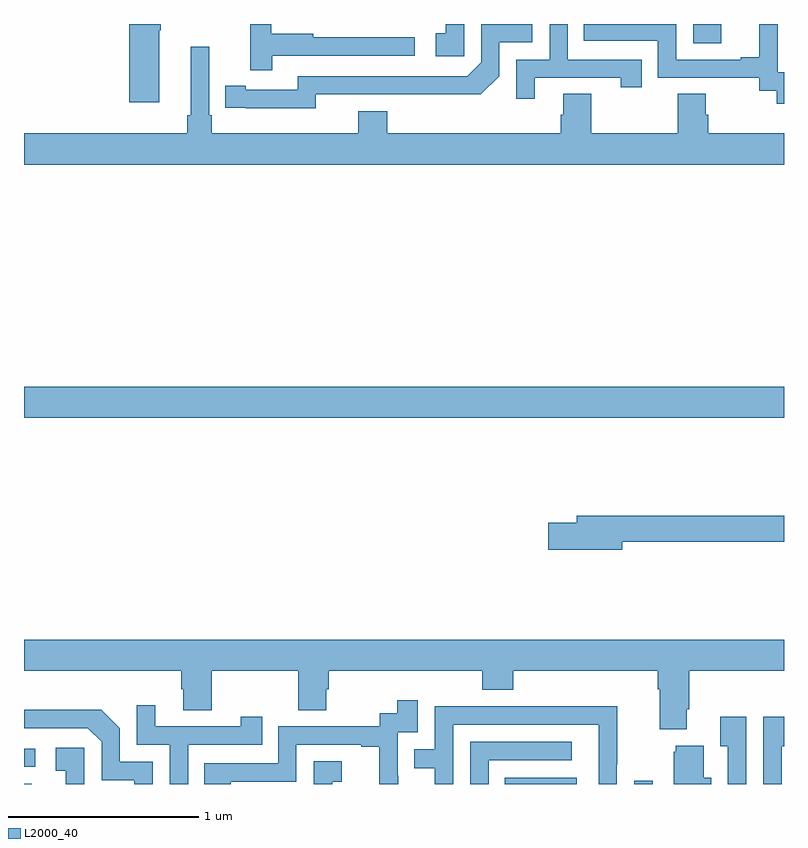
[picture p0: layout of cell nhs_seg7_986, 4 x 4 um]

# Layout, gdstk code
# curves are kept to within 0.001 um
import gdstk
lib = gdstk.Library(unit=1e-6, precision=1e-09)
def R(c, l, rs):  # rectangles x0, y0, x1, y1
    for r in rs: c.add(gdstk.rectangle(r[:2], r[2:], *l))
def P(c, l, *ps):  # polygons
    for p in ps: c.add(gdstk.Polygon(p, *l))
L2000_40 = (2000, 40)

nhs_seg7_986 = lib.new_cell('nhs_seg7_986')
R(nhs_seg7_986, L2000_40, [(183,1020,183.04,1020.001), (185.53,1020,185.908,1020.034), (186.213,1020,186.309,1020.016), (183,1020.09,183.058,1020.186), (183,1021.928,187,1022.092), (186.522,1023.9,186.67,1024)])
P(nhs_seg7_986, L2000_40, [(185.689,1023.717),(186.14,1023.717),(186.14,1023.666),(186.251,1023.666),(186.251,1023.813),(185.862,1023.813),(185.862,1024),(185.766,1024),(185.766,1023.813),(185.592,1023.813),(185.592,1023.606),(185.689,1023.606)],
  [(184.536,1023.63),(185.404,1023.629),(185.502,1023.726),(185.502,1023.903),(185.676,1023.903),(185.676,1024),(185.406,1023.999),(185.406,1023.798),(185.334,1023.726),(184.44,1023.726),(184.44,1023.654),(184.168,1023.654),(184.168,1023.674),(184.06,1023.674),(184.06,1023.558),(184.536,1023.557)],
  [(185.316,1024),(185.219,1024),(185.219,1023.951),(185.166,1023.951),(185.166,1023.831),(185.316,1023.831)],
  [(184.307,1023.834),(185.056,1023.834),(185.056,1023.93),(184.523,1023.93),(184.523,1023.95),(184.3,1023.95),(184.3,1024),(184.19,1024),(184.19,1023.756),(184.307,1023.756)],
  [(183.712,1023.967),(183.72,1023.967),(183.72,1024),(183.554,1024),(183.554,1023.588),(183.712,1023.588)],
  [(187,1023.747),(186.966,1023.747),(186.966,1023.977),(186.968,1023.977),(186.968,1024),(186.869,1024),(186.869,1023.826),(186.773,1023.826),(186.773,1023.813),(186.432,1023.813),(186.432,1024),(185.947,1024),(185.947,1023.912),(186.336,1023.912),(186.336,1023.717),(186.87,1023.717),(186.87,1023.649),(186.963,1023.649),(186.963,1023.579),(187,1023.579)],
  [(187,1023.424),(186.602,1023.424),(186.602,1023.522),(186.589,1023.522),(186.589,1023.632),(186.442,1023.632),(186.442,1023.424),(185.985,1023.424),(185.985,1023.632),(185.837,1023.632),(185.837,1023.522),(185.825,1023.522),(185.825,1023.424),(184.913,1023.424),(184.913,1023.541),(184.76,1023.541),(184.76,1023.424),(183.989,1023.424),(183.989,1023.52),(183.975,1023.52),(183.975,1023.88),(183.878,1023.88),(183.878,1023.52),(183.859,1023.52),(183.859,1023.424),(183,1023.424),(183,1023.26),(187,1023.26)],
  [(186.148,1021.276),(187,1021.276),(187,1021.412),(185.909,1021.412),(185.909,1021.376),(185.76,1021.376),(185.76,1021.234),(186.148,1021.234)],
  [(186.487,1020.394),(186.5,1020.394),(186.5,1020.596),(187,1020.596),(187,1020.76),(183,1020.76),(183,1020.596),(183.827,1020.596),(183.827,1020.498),(183.839,1020.498),(183.839,1020.388),(183.987,1020.388),(183.987,1020.596),(184.444,1020.596),(184.444,1020.388),(184.591,1020.388),(184.591,1020.498),(184.604,1020.498),(184.604,1020.596),(185.411,1020.596),(185.411,1020.497),(185.576,1020.497),(185.576,1020.596),(186.335,1020.596),(186.335,1020.5),(186.347,1020.5),(186.347,1020.287),(186.487,1020.287)],
  [(184.089,1020.012),(184.434,1020.012),(184.434,1020.207),(184.775,1020.207),(184.775,1020.195),(184.871,1020.195),(184.871,1020),(184.97,1020),(184.97,1020.044),(184.968,1020.044),(184.968,1020.273),(185.073,1020.273),(185.073,1020.442),(184.965,1020.442),(184.965,1020.372),(184.872,1020.372),(184.872,1020.303),(184.338,1020.303),(184.338,1020.108),(183.949,1020.108),(183.949,1020),(184.089,1020)],
  [(183.864,1020.207),(184.253,1020.207),(184.253,1020.355),(184.142,1020.355),(184.142,1020.303),(183.691,1020.303),(183.691,1020.415),(183.594,1020.415),(183.594,1020.207),(183.768,1020.207),(183.768,1020),(183.864,1020)],
  [(185.259,1020.312),(186.024,1020.312),(186.024,1020),(186.12,1020),(186.12,1020.103),(186.123,1020.103),(186.123,1020.41),(185.659,1020.41),(185.659,1020.408),(185.163,1020.408),(185.163,1020.183),(185.053,1020.183),(185.053,1020.082),(185.163,1020.082),(185.163,1020),(185.259,1020)],
  [(183.678,1020.117),(183.504,1020.117),(183.504,1020.294),(183.406,1020.392),(183,1020.392),(183,1020.294),(183.336,1020.294),(183.408,1020.222),(183.408,1020.021),(183.581,1020.021),(183.581,1020),(183.678,1020)],
  [(186.987,1020.199),(187,1020.199),(187,1020.355),(186.891,1020.355),(186.891,1020),(186.987,1020)],
  [(186.801,1020.355),(186.665,1020.355),(186.665,1020.199),(186.705,1020.199),(186.705,1020),(186.801,1020)],
  [(185.445,1020.126),(185.884,1020.126),(185.884,1020.222),(185.349,1020.222),(185.349,1020),(185.445,1020)],
  [(186.616,1020.034),(186.577,1020.034),(186.577,1020.202),(186.431,1020.202),(186.431,1020.171),(186.419,1020.171),(186.419,1020),(186.616,1020)],
  [(183.318,1020.19),(183.168,1020.19),(183.168,1020.069),(183.221,1020.069),(183.221,1020),(183.318,1020)],
  [(184.623,1020.011),(184.672,1020.011),(184.672,1020.121),(184.524,1020.121),(184.524,1020),(184.623,1020)])

lib.write_gds('nhs_seg7_986.gds')
